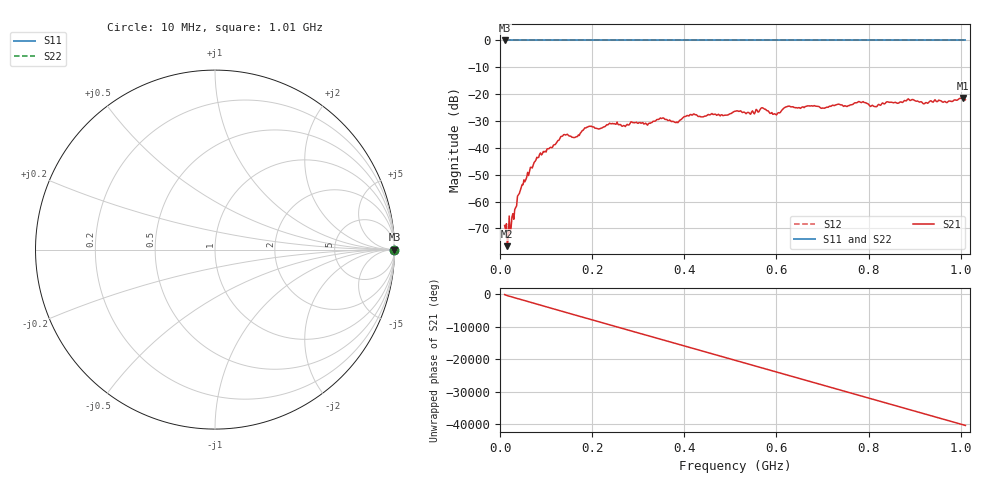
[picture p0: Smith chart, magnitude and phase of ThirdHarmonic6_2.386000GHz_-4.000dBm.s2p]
! 8/17/2025 3:50:03 AM
! C:\ANRITSUVNA\TEMP\TEMP.S2P
! CHANNEL.1
! TR.MEASUREMENT
! RAW.DATA
! RF.CORRECTION.OFF
! AVERAGING.OFF
! IF.BANDWIDTH: 5KHZ
! SWEEPTYPE:  FREQ.SWEEP(Linear)
! Reference Plane Port Info
! PORT:  PORT1  PORT2
! DISTANCE:  0  m  0  m
! TIME:  0  s  0  s
! PHASE.OFFSET:  0  deg.  0  deg.
! LOSS:  0  dB  0  dB
! REF.LOSS:  0  dB  0  dB
! REF.FREQ:  0  Hz  0  Hz
! Power Info
! POWER:  -20  dBm  -20  dBm
! EFF.POWER:  -20  dBm  -20  dBm
! SOURCE.ATTEN:  0  dB  0  dB
! TEST.ATTEN:  0  dB  0  dB
# GHZ S RI R 50.0
! FREQ.GHZ  S11RE  S11IM  S21RE  S21IM  S12RE  S12IM  S22RE  S22IM
!; PortSelection: Port_12
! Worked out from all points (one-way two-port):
!   501 points, 10 MHz to 1.01 GHz, reference 50 ohm
!   highest |S21| = -21.47 dB at 1.004 GHz (marker M1); lowest = -76.6 dB at 16 MHz (marker M2)
!   lowest |S11| = 0.0 dB at 10 MHz (marker M3)
!   |S11| at or under -10 dB: nowhere
!   |S22| runs from 0.0 to 0.0 dB; largest |S21 - S12| = 1.1
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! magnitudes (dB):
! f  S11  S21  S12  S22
! 10 MHz  0.0  -68.9  0.0  0.0
! 16 MHz  0.0  -76.6  0.0  0.0
! 20 MHz  0.0  -65.4  0.0  0.0
! 24 MHz  0.0  -69.9  0.0  0.0
! 26 MHz  0.0  -65.7  0.0  0.0
! 48 MHz  0.0  -53.7  0.0  0.0
! 84 MHz  0.0  -43.5  0.0  0.0
! 136 MHz  0.0  -35.6  0.0  0.0
! 164 MHz  0.0  -36.0  0.0  0.0
! 178 MHz  0.0  -33.7  0.0  0.0
! 344 MHz  0.0  -29.4  0.0  0.0
! 384 MHz  0.0  -30.4  0.0  0.0
! 416 MHz  0.0  -27.8  0.0  0.0
! 510 MHz  0.0  -26.4  0.0  0.0
! 570 MHz  0.0  -25.1  0.0  0.0
! 596 MHz  0.0  -27.3  0.0  0.0
! 624 MHz  0.0  -24.5  0.0  0.0
! 678 MHz  0.0  -24.4  0.0  0.0
! 814 MHz  0.0  -24.6  0.0  0.0
! 844 MHz  0.0  -23.1  0.0  0.0
! 1.004 GHz  0.0  -21.5  0.0  0.0
! 1.01 GHz  0.0  -22.1  0.0  0.0
